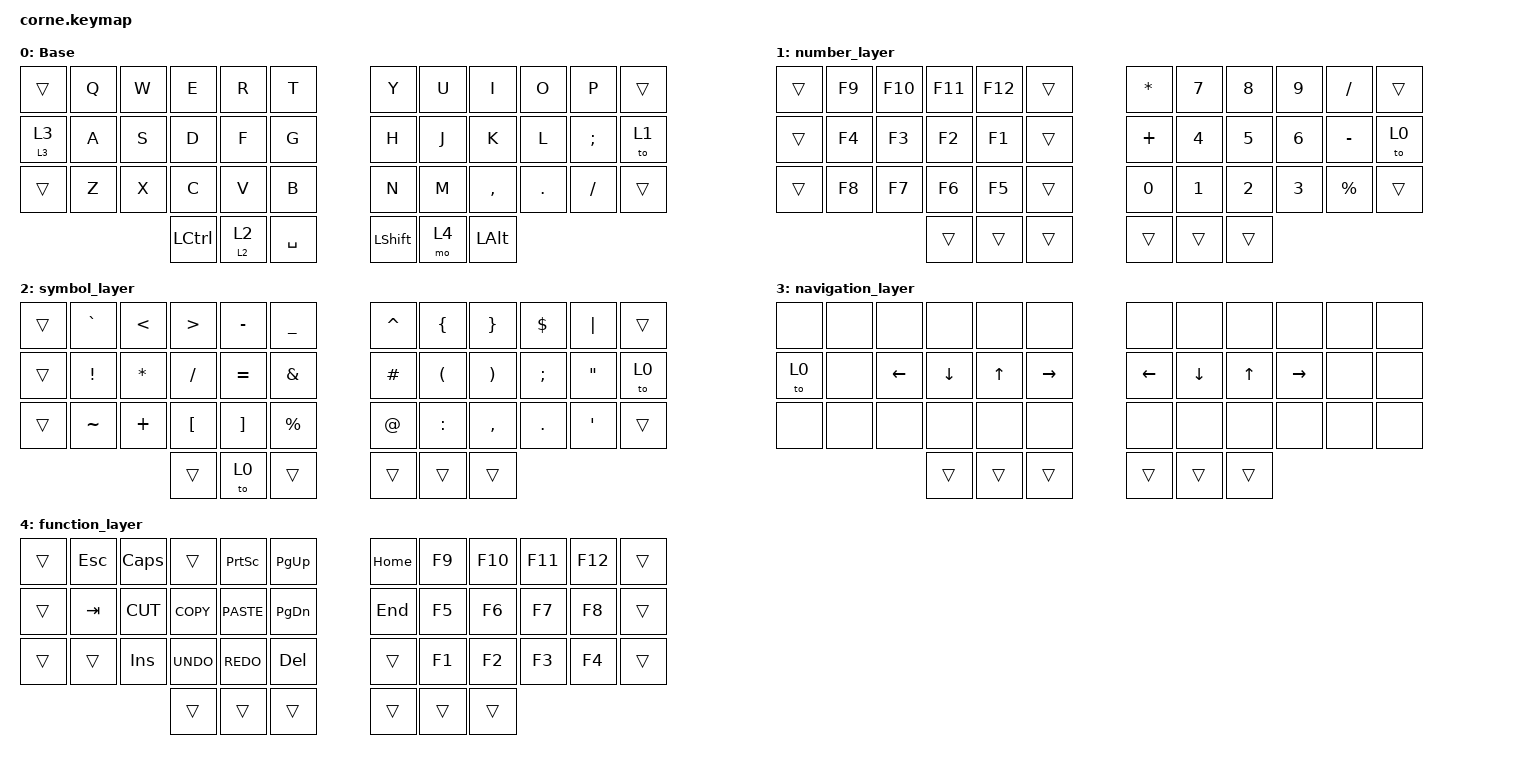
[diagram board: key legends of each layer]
/*
 * Copyright (c) 2020 The ZMK Contributors
 *
 * SPDX-License-Identifier: MIT
 */

#include <behaviors.dtsi>
#include <dt-bindings/zmk/keys.h>

/ {
    behaviors {
        HMR: HMR {
            compatible = "zmk,behavior-hold-tap";
            label = "HMR";
            bindings = <&mo>, <&to>;

            #binding-cells = <2>;
            tapping-term-ms = <280>;
            quick-tap-ms = <175>;
            flavor = "tap-preferred";
            hold-trigger-key-positions = <0 1 2 3 4 5 12 13 14 15 16 17 24 25 26 27 28 29 36 37 38>;
            hold-trigger-on-release;
        };

        HML: HML {
            compatible = "zmk,behavior-hold-tap";
            label = "HML";
            bindings = <&kp>, <&kp>;

            #binding-cells = <2>;
            tapping-term-ms = <280>;
            quick-tap-ms = <175>;
            flavor = "tap-preferred";
            hold-trigger-on-release;
            hold-trigger-key-positions = <36 37 38 6 7 8 9 10 11 18 19 20 21 22 23 30 31 32 33 34 35 39 40 41>;
        };
    };

    combos {
        compatible = "zmk,combos";

        return {
            bindings = <&kp RETURN>;
            key-positions = <19 20>;
        };

        tab {
            bindings = <&kp TAB>;
            key-positions = <1 2>;
        };

        ctrl+shift {
            bindings = <&kp LC(LEFT_SHIFT)>;
            key-positions = <25 26>;
        };

        backspace {
            bindings = <&kp BACKSPACE>;
            key-positions = <15 16>;
        };

        ctrl+backspace {
            bindings = <&kp LC(BACKSPACE)>;
            key-positions = <27 28>;
        };
    };

    keymap {
        compatible = "zmk,keymap";

        default_layer {
            // -----------------------------------------------------------------------------------------
            // |  TAB |  Q  |  W  |  E  |  R  |  T  |   |  Y  |  U   |  I  |  O  |  P  | BKSP |
            // | CTRL |  A  |  S  |  D  |  F  |  G  |   |  H  |  J   |  K  |  L  |  ;  |  '   |
            // | SHFT |  Z  |  X  |  C  |  V  |  B  |   |  N  |  M   |  ,  |  .  |  /  | ESC  |
            //                    | GUI | LWR | SPC |   | ENT | RSE  | ALT |

            display-name = "Base";
            bindings = <
&trans    &kp Q  &kp W  &kp E             &kp R     &kp T        &kp Y           &kp U  &kp I         &kp O    &kp P     &trans
&HMR 3 3  &kp A  &kp S  &kp D             &kp F     &kp G        &kp H           &kp J  &kp K         &kp L    &kp SEMI  &to 1
&trans    &kp Z  &kp X  &kp C             &kp V     &kp B        &kp N           &kp M  &kp COMMA     &kp DOT  &kp FSLH  &trans
                        &kp LEFT_CONTROL  &HMR 2 2  &kp SPACE    &kp LEFT_SHIFT  &mo 4  &kp LEFT_ALT
            >;
        };

        number_layer {
            bindings = <
&trans  &kp F9  &kp F10  &kp F11  &kp F12  &trans    &kp ASTERISK  &kp N7  &kp N8  &kp N9  &kp FSLH     &trans
&trans  &kp F4  &kp F3   &kp F2   &kp F1   &trans    &kp PLUS      &kp N4  &kp N5  &kp N6  &kp MINUS    &to 0
&trans  &kp F8  &kp F7   &kp F6   &kp F5   &trans    &kp N0        &kp N1  &kp N2  &kp N3  &kp PERCENT  &trans
                         &trans   &trans   &trans    &trans        &trans  &trans
            >;
        };

        symbol_layer {
            bindings = <
&trans  &kp GRAVE  &kp LESS_THAN  &kp GREATER_THAN  &kp MINUS          &kp UNDER        &kp CARET  &kp LEFT_BRACE        &kp RIGHT_BRACE        &kp DOLLAR     &kp PIPE           &trans
&trans  &kp EXCL   &kp ASTERISK   &kp SLASH         &kp EQUAL          &kp AMPERSAND    &kp HASH   &kp LEFT_PARENTHESIS  &kp RIGHT_PARENTHESIS  &kp SEMICOLON  &kp DOUBLE_QUOTES  &to 0
&trans  &kp TILDE  &kp PLUS       &kp LEFT_BRACKET  &kp RIGHT_BRACKET  &kp PERCENT      &kp AT     &kp COLON             &kp COMMA              &kp DOT        &kp APOSTROPHE     &trans
                                  &trans            &to 0              &trans           &trans     &trans                &trans
            >;
        };

        navigation_layer {
            bindings = <
&none  &none  &none           &none           &none         &none              &none           &none           &none         &none            &none  &none
&to 0  &none  &kp LEFT_ARROW  &kp DOWN_ARROW  &kp UP_ARROW  &kp RIGHT_ARROW    &kp LEFT_ARROW  &kp DOWN_ARROW  &kp UP_ARROW  &kp RIGHT_ARROW  &none  &none
&none  &none  &none           &none           &none         &none              &none           &none           &none         &none            &none  &none
                              &trans          &trans        &trans             &trans          &trans          &trans
            >;
        };

        function_layer {
            bindings = <
&trans  &kp ESC  &kp CAPSLOCK  &trans      &kp PRINTSCREEN  &kp PG_UP        &kp HOME  &kp F9  &kp F10  &kp F11  &kp F12  &trans
&trans  &kp TAB  &kp K_CUT     &kp K_COPY  &kp K_PASTE      &kp PAGE_DOWN    &kp END   &kp F5  &kp F6   &kp F7   &kp F8   &trans
&trans  &trans   &kp INSERT    &kp K_UNDO  &kp K_REDO       &kp DEL          &trans    &kp F1  &kp F2   &kp F3   &kp F4   &trans
                               &trans      &trans           &trans           &trans    &trans  &trans
            >;
        };
    };
};
